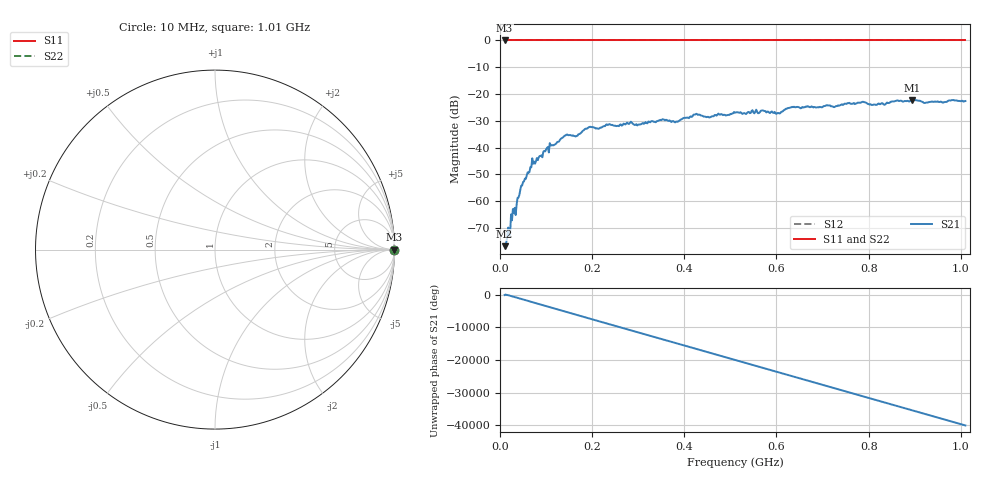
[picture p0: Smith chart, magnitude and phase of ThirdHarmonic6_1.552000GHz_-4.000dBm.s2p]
! 8/16/2025 6:25:15 PM
! C:\ANRITSUVNA\TEMP\TEMP.S2P
! CHANNEL.1
! TR.MEASUREMENT
! RAW.DATA
! RF.CORRECTION.OFF
! AVERAGING.OFF
! IF.BANDWIDTH: 5KHZ
! SWEEPTYPE:  FREQ.SWEEP(Linear)
! Reference Plane Port Info
! PORT:  PORT1  PORT2
! DISTANCE:  0  m  0  m
! TIME:  0  s  0  s
! PHASE.OFFSET:  0  deg.  0  deg.
! LOSS:  0  dB  0  dB
! REF.LOSS:  0  dB  0  dB
! REF.FREQ:  0  Hz  0  Hz
! Power Info
! POWER:  -20  dBm  -20  dBm
! EFF.POWER:  -20  dBm  -20  dBm
! SOURCE.ATTEN:  0  dB  0  dB
! TEST.ATTEN:  0  dB  0  dB
# GHZ S RI R 50.0
! FREQ.GHZ  S11RE  S11IM  S21RE  S21IM  S12RE  S12IM  S22RE  S22IM
!; PortSelection: Port_12
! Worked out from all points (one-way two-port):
!   501 points, 10 MHz to 1.01 GHz, reference 50 ohm
!   highest |S21| = -22.23 dB at 894 MHz (marker M1); lowest = -76.9 dB at 10 MHz (marker M2)
!   lowest |S11| = 0.0 dB at 10 MHz (marker M3)
!   |S11| at or under -10 dB: nowhere
!   |S22| runs from 0.0 to 0.0 dB; largest |S21 - S12| = 1.1
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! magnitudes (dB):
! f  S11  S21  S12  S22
! 10 MHz  0.0  -76.9  0.0  0.0
! 18 MHz  0.0  -69.9  0.0  0.0
! 28 MHz  0.0  -63.0  0.0  0.0
! 34 MHz  0.0  -65.2  0.0  0.0
! 46 MHz  0.0  -54.3  0.0  0.0
! 70 MHz  0.0  -44.0  0.0  0.0
! 100 MHz  0.0  -40.7  0.0  0.0
! 142 MHz  0.0  -35.5  0.0  0.0
! 164 MHz  0.0  -35.9  0.0  0.0
! 178 MHz  0.0  -34.1  0.0  0.0
! 196 MHz  0.0  -32.3  0.0  0.0
! 344 MHz  0.0  -29.9  0.0  0.0
! 382 MHz  0.0  -30.3  0.0  0.0
! 424 MHz  0.0  -27.6  0.0  0.0
! 452 MHz  0.0  -28.5  0.0  0.0
! 510 MHz  0.0  -27.0  0.0  0.0
! 604 MHz  0.0  -27.1  0.0  0.0
! 634 MHz  0.0  -24.8  0.0  0.0
! 678 MHz  0.0  -24.8  0.0  0.0
! 844 MHz  0.0  -23.4  0.0  0.0
! 894 MHz  0.0  -22.2  0.0  0.0
! 1.01 GHz  0.0  -22.6  0.0  0.0
